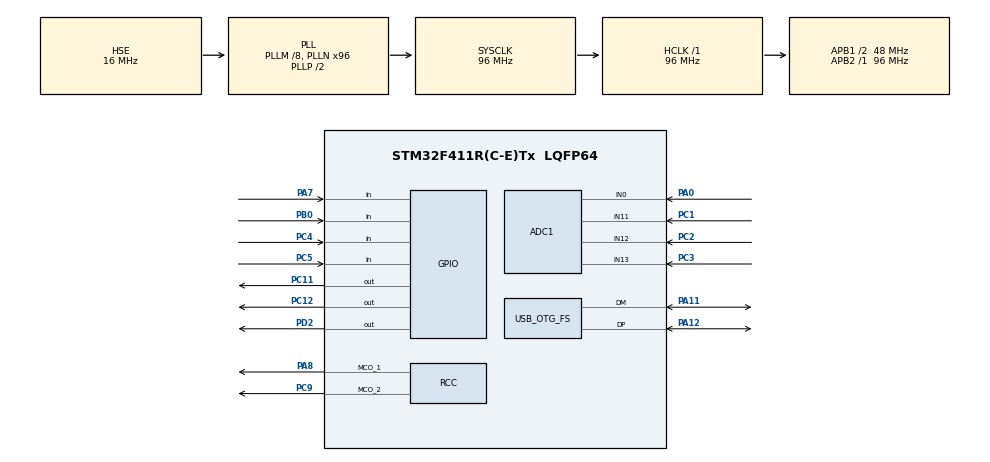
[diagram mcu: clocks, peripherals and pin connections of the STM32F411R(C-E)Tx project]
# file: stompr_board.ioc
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ADC1.Channel-0\#ChannelRegularConversion=ADC_CHANNEL_11
ADC1.Channel-1\#ChannelRegularConversion=ADC_CHANNEL_12
ADC1.Channel-2\#ChannelRegularConversion=ADC_CHANNEL_13
ADC1.Channel-3\#ChannelRegularConversion=ADC_CHANNEL_0
ADC1.ContinuousConvMode=DISABLE
ADC1.DMAContinuousRequests=DISABLE
ADC1.EOCSelection=ADC_EOC_SINGLE_CONV
ADC1.ExternalTrigConv=ADC_SOFTWARE_START
ADC1.NbrOfConversion=4
ADC1.NbrOfConversionFlag=1
ADC1.Rank-0\#ChannelRegularConversion=1
ADC1.Rank-1\#ChannelRegularConversion=2
ADC1.Rank-2\#ChannelRegularConversion=3
ADC1.Rank-3\#ChannelRegularConversion=4
ADC1.SamplingTime-0\#ChannelRegularConversion=ADC_SAMPLETIME_84CYCLES
ADC1.SamplingTime-1\#ChannelRegularConversion=ADC_SAMPLETIME_84CYCLES
ADC1.SamplingTime-2\#ChannelRegularConversion=ADC_SAMPLETIME_84CYCLES
ADC1.SamplingTime-3\#ChannelRegularConversion=ADC_SAMPLETIME_84CYCLES
ADC1.master=1
Mcu.Family=STM32F4
Mcu.Name=STM32F411R(C-E)Tx
Mcu.Package=LQFP64
NVIC.ADC_IRQn=true\:0\:0\:false\:false\:true\:true\:true\:true
NVIC.OTG_FS_IRQn=true\:0\:0\:false\:false\:true\:true\:true\:true
NVIC.PriorityGroup=NVIC_PRIORITYGROUP_4
PA0-WKUP.Signal=ADCx_IN0
PA11.Mode=Device_Only
PA11.Signal=USB_OTG_FS_DM
PA12.Mode=Device_Only
PA12.Signal=USB_OTG_FS_DP
PA13.Mode=Serial_Wire
PA13.Signal=SYS_JTMS-SWDIO
PA14.Mode=Serial_Wire
PA14.Signal=SYS_JTCK-SWCLK
PA7.Signal=GPIO_Input
PA8.Mode=Clock-out-1
PA8.Signal=RCC_MCO_1
PB0.Signal=GPIO_Input
PC1.Signal=ADCx_IN11
PC11.Signal=GPIO_Output
PC12.Signal=GPIO_Output
PC2.Signal=ADCx_IN12
PC3.Signal=ADCx_IN13
PC4.Signal=GPIO_Input
PC5.Signal=GPIO_Input
PC9.Mode=Clock-out-2
PC9.Signal=RCC_MCO_2
PD2.Signal=GPIO_Output
PH0\ -\ OSC_IN.Mode=HSE-External-Oscillator
PH0\ -\ OSC_IN.Signal=RCC_OSC_IN
PH1\ -\ OSC_OUT.Mode=HSE-External-Oscillator
PH1\ -\ OSC_OUT.Signal=RCC_OSC_OUT
ProjectManager.HeapSize=0x200
ProjectManager.StackSize=0x400
ProjectManager.TargetToolchain=STM32CubeIDE
RCC.48MHZClocksFreq_Value=48000000
RCC.AHBFreq_Value=96000000
RCC.APB1CLKDivider=RCC_HCLK_DIV2
RCC.APB1Freq_Value=48000000
RCC.APB1TimFreq_Value=96000000
RCC.APB2Freq_Value=96000000
RCC.APB2TimFreq_Value=96000000
RCC.CortexFreq_Value=96000000
RCC.HCLKFreq_Value=96000000
RCC.HSE_VALUE=16000000
RCC.HSI_VALUE=16000000
RCC.LSE_VALUE=32768
RCC.PLLM=8
RCC.PLLN=96
RCC.SYSCLKFreq_VALUE=96000000
RCC.SYSCLKSource=RCC_SYSCLKSOURCE_PLLCLK
RCC.VCOOutputFreq_Value=192000000
SH.ADCx_IN0.0=ADC1_IN0,IN0
SH.ADCx_IN11.0=ADC1_IN11,IN11
SH.ADCx_IN12.0=ADC1_IN12,IN12
SH.ADCx_IN13.0=ADC1_IN13,IN13
USB_OTG_FS.VirtualMode=Device_Only
board=custom

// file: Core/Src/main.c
/* USER CODE BEGIN Header */
/**
  ******************************************************************************
  * @file           : main.c
  * @brief          : Main program body
  ******************************************************************************
  * @attention
  *
  * Copyright (c) 2026 STMicroelectronics.
  * All rights reserved.
  *
  * This software is licensed under terms that can be found in the LICENSE file
  * in the root directory of this software component.
  * If no LICENSE file comes with this software, it is provided AS-IS.
  *
  ******************************************************************************
  */
/* USER CODE END Header */
#include "main.h"

/* USER CODE BEGIN Includes */
#include "tusb.h"
#include <stdint.h>
#include <stdbool.h>
/* USER CODE END Includes */

/* USER CODE BEGIN PTD */
typedef enum {
	MIDI_NOTE_OFF	= 0x00,
	MIDI_NOTE_ON	= 0x90,
	MIDI_CC			= 0xB0,
	MIDI_PC			= 0xC0,
	MIDI_PITCH_BEND	= 0xE0
} MidiCommand_t;

typedef struct {
	MidiCommand_t cmd;
	uint8_t data1;
	uint8_t data2;
} MidiPacket_t;
/* USER CODE END PTD */

/* USER CODE BEGIN PD */
#define NUM_ADC_CHANNELS 	4

#define MIDI_CHANNEL 		0x00

#define SW1_CC_NUM	 		0x01
#define SW2_CC_NUM			0x02

#define SW3_PC_NUM			0x00
#define SW4_PC_NUM 			0x01

#define ADC0_CC_NUM      	0x10
#define ADC1_CC_NUM      	0x11
#define ADC2_CC_NUM      	0x12
#define ADC3_CC_NUM      	0x13

#define ADC_CC_THRESHOLD 	3

/* USER CODE END PD */

ADC_HandleTypeDef hadc1;

PCD_HandleTypeDef hpcd_USB_OTG_FS;

/* USER CODE BEGIN PV */
uint16_t adc_buf[NUM_ADC_CHANNELS];
uint8_t last_adc_cc[NUM_ADC_CHANNELS] = {0xFF, 0xFF, 0xFF, 0xFF};
/* USER CODE END PV */

void SystemClock_Config(void);
static void MX_GPIO_Init(void);
static void MX_ADC1_Init(void);
static void MX_USB_OTG_FS_PCD_Init(void);
/* USER CODE BEGIN PFP */
static void MIDI_SendCC(uint8_t controller, uint8_t value);
static void MIDI_SendPC(uint8_t program);
/* USER CODE END PFP */

/* USER CODE BEGIN 0 */
static void MIDI_SendCC(uint8_t controller, uint8_t value)
{
    uint8_t packet[4] = {
        0x0B,                    // 0x0B (Control Change), Cable 0
        MIDI_CC | MIDI_CHANNEL,  // CC on channel 1
        controller,              // Controller number
        value                    // Controller value
    };
    tud_midi_packet_write(packet);
}

static void MIDI_SendPC(uint8_t program)
{
    uint8_t packet[4] = {
        0x0C,                    // 0x0C (Program Change), Cable 0
        MIDI_PC | MIDI_CHANNEL,  // 0xC0 = PC on channel 1
        program,                 // Program number
        0x00                     // Unused
    };
    tud_midi_packet_write(packet);
}

/* USER CODE END 0 */

int main(void)
{

  /* MCU Configuration--------------------------------------------------------*/

  /* Reset of all peripherals, Initializes the Flash interface and the Systick. */
  HAL_Init();

  /* Configure the system clock */
  SystemClock_Config();

  /* Initialize all configured peripherals */
  MX_GPIO_Init();
  MX_ADC1_Init();
  MX_USB_OTG_FS_PCD_Init();

  /* USER CODE BEGIN 2 */

  tusb_rhport_init_t dev_init = {
	  .role = TUSB_ROLE_DEVICE,
	  .speed = TUSB_SPEED_FULL
  };
  tusb_init(0, &dev_init);

  bool sw1_cc_state = false;
  bool sw2_cc_state = false;

  bool last_sw1 = false;
  bool last_sw2 = false;
  bool last_sw3 = false;
  bool last_sw4 = false;

  /* USER CODE END 2 */

  /* Infinite loop */
  while (1)
  {

    /* USER CODE BEGIN 3 */

	  tud_task();

	  // READ ADC
	  for (int i = 0; i < NUM_ADC_CHANNELS; i++) {
		  HAL_ADC_Start(&hadc1);
		  HAL_ADC_PollForConversion(&hadc1, HAL_MAX_DELAY);
		  adc_buf[i] = HAL_ADC_GetValue(&hadc1);
	  }

	  // Read Switches
      bool sw1 = (HAL_GPIO_ReadPin(GPIOA, GPIO_PIN_7) == GPIO_PIN_RESET);
      bool sw2 = (HAL_GPIO_ReadPin(GPIOC, GPIO_PIN_4) == GPIO_PIN_RESET);
      bool sw3 = (HAL_GPIO_ReadPin(GPIOC, GPIO_PIN_5) == GPIO_PIN_RESET);
      bool sw4 = (HAL_GPIO_ReadPin(GPIOB, GPIO_PIN_0) == GPIO_PIN_RESET);

      // Switch 1: CC Toggle when pressed
      if (sw1 && !last_sw1) {
    	  HAL_Delay(50);
    	  sw1_cc_state = !sw1_cc_state;
          MIDI_SendCC(SW1_CC_NUM, sw1_cc_state ? 127 : 0);
    	  HAL_GPIO_TogglePin(GPIOD, GPIO_PIN_2);
      }

      last_sw1 = sw1;

      // SWITCH 2: CC toggle on press
      if (sw2 && !last_sw2) {
          HAL_Delay(50); // debounce
          sw2_cc_state = !sw2_cc_state;
          MIDI_SendCC(SW2_CC_NUM, sw2_cc_state ? 127 : 0);
          HAL_GPIO_TogglePin(GPIOD, GPIO_PIN_2);
      }
      last_sw2 = sw2;

      //SWITCH 3: PC patch 0 on press
      if (sw3 && !last_sw3) {
          HAL_Delay(50); // debounce
          MIDI_SendPC(SW3_PC_NUM);
          HAL_GPIO_TogglePin(GPIOD, GPIO_PIN_2);
      }
      last_sw3 = sw3;

      // SWITCH 4: PC patch 1 on press
      if (sw4 && !last_sw4) {
          HAL_Delay(50); // debounce
          MIDI_SendPC(SW4_PC_NUM);
          HAL_GPIO_TogglePin(GPIOD, GPIO_PIN_2);
      }
      last_sw4 = sw4;

      // Maps adc channel to cc num
      static const uint8_t adc_cc_nums[NUM_ADC_CHANNELS] = {
                  ADC0_CC_NUM, ADC1_CC_NUM, ADC2_CC_NUM, ADC3_CC_NUM
              };

      for (int i = 0; i < NUM_ADC_CHANNELS; i++) {

          uint8_t cc_val = (uint8_t)(((uint32_t)adc_buf[i] * 127) / 4095);

          // Box filter: only send if change exceeds threshold.
          int delta = (int)cc_val - (int)last_adc_cc[i];
          if (delta < 0) delta = -delta;

          if (delta > ADC_CC_THRESHOLD) {
              last_adc_cc[i] = cc_val;
              MIDI_SendCC(adc_cc_nums[i], cc_val);
          }
      }

      HAL_Delay(10);
      /* ---------------- OLD WORKING CODE ----------------

	  // Build transmit buffer with ADC values
	  uint8_t txbuf[64];
	  int len = snprintf((char*)txbuf, sizeof(txbuf),
	      "P1:%4u P2:%4u P3:%4u P4:%4u\r\n",
	      adc_buf[0], adc_buf[1], adc_buf[2], adc_buf[3]);
	// SWITCH 1
	if (HAL_GPIO_ReadPin(GPIOA, GPIO_PIN_7) == GPIO_PIN_RESET) {

	  HAL_Delay(50);
	  HAL_GPIO_TogglePin (GPIOD, GPIO_PIN_2);

	    CDC_Transmit_FS(txbuf, len);

	  while (HAL_GPIO_ReadPin(GPIOA, GPIO_PIN_7) == GPIO_PIN_RESET);

	}

	// SWITCH 2
	if (HAL_GPIO_ReadPin(GPIOC, GPIO_PIN_4) == GPIO_PIN_RESET) {

	  HAL_Delay(50);
	  HAL_GPIO_TogglePin (GPIOD, GPIO_PIN_2);

	    CDC_Transmit_FS(txbuf, len);

	  while (HAL_GPIO_ReadPin(GPIOC, GPIO_PIN_4) == GPIO_PIN_RESET);

	}

	// SWITCH 3
	if (HAL_GPIO_ReadPin(GPIOC, GPIO_PIN_5) == GPIO_PIN_RESET) {

	  HAL_Delay(50);
	  HAL_GPIO_TogglePin (GPIOD, GPIO_PIN_2);

	    CDC_Transmit_FS(txbuf, len);

	  while (HAL_GPIO_ReadPin(GPIOC, GPIO_PIN_5) == GPIO_PIN_RESET);

	}

	// SWITCH 4
	if (HAL_GPIO_ReadPin(GPIOB, GPIO_PIN_0) == GPIO_PIN_RESET) {

	  HAL_Delay(50);
	  HAL_GPIO_TogglePin (GPIOD, GPIO_PIN_2);

	    CDC_Transmit_FS(txbuf, len);

	  while (HAL_GPIO_ReadPin(GPIOB, GPIO_PIN_0) == GPIO_PIN_RESET);

	}

	HAL_Delay(100);
	*/

  }

  /* USER CODE END 3 */
}

void SystemClock_Config(void)
{
  RCC_OscInitTypeDef RCC_OscInitStruct = {0};
  RCC_ClkInitTypeDef RCC_ClkInitStruct = {0};

  /** Configure the main internal regulator output voltage
  */
  __HAL_RCC_PWR_CLK_ENABLE();
  __HAL_PWR_VOLTAGESCALING_CONFIG(PWR_REGULATOR_VOLTAGE_SCALE1);

  /** Initializes the RCC Oscillators according to the specified parameters
  * in the RCC_OscInitTypeDef structure.
  */
  RCC_OscInitStruct.OscillatorType = RCC_OSCILLATORTYPE_HSI|RCC_OSCILLATORTYPE_HSE;
  RCC_OscInitStruct.HSEState = RCC_HSE_ON;
  RCC_OscInitStruct.HSIState = RCC_HSI_ON;
  RCC_OscInitStruct.HSICalibrationValue = RCC_HSICALIBRATION_DEFAULT;
  RCC_OscInitStruct.PLL.PLLState = RCC_PLL_ON;
  RCC_OscInitStruct.PLL.PLLSource = RCC_PLLSOURCE_HSE;
  RCC_OscInitStruct.PLL.PLLM = 8;
  RCC_OscInitStruct.PLL.PLLN = 96;
  RCC_OscInitStruct.PLL.PLLP = RCC_PLLP_DIV2;
  RCC_OscInitStruct.PLL.PLLQ = 4;
  if (HAL_RCC_OscConfig(&RCC_OscInitStruct) != HAL_OK)
  {
    Error_Handler();
  }

  /** Initializes the CPU, AHB and APB buses clocks
  */
  RCC_ClkInitStruct.ClockType = RCC_CLOCKTYPE_HCLK|RCC_CLOCKTYPE_SYSCLK
                              |RCC_CLOCKTYPE_PCLK1|RCC_CLOCKTYPE_PCLK2;
  RCC_ClkInitStruct.SYSCLKSource = RCC_SYSCLKSOURCE_PLLCLK;
  RCC_ClkInitStruct.AHBCLKDivider = RCC_SYSCLK_DIV1;
  RCC_ClkInitStruct.APB1CLKDivider = RCC_HCLK_DIV2;
  RCC_ClkInitStruct.APB2CLKDivider = RCC_HCLK_DIV1;

  if (HAL_RCC_ClockConfig(&RCC_ClkInitStruct, FLASH_LATENCY_3) != HAL_OK)
  {
    Error_Handler();
  }
  HAL_RCC_MCOConfig(RCC_MCO1, RCC_MCO1SOURCE_HSI, RCC_MCODIV_1);
  HAL_RCC_MCOConfig(RCC_MCO2, RCC_MCO2SOURCE_SYSCLK, RCC_MCODIV_1);
}

static void MX_ADC1_Init(void)
{

  ADC_ChannelConfTypeDef sConfig = {0};

  /** Configure the global features of the ADC (Clock, Resolution, Data Alignment and number of conversion)
  */
  hadc1.Instance = ADC1;
  hadc1.Init.ClockPrescaler = ADC_CLOCK_SYNC_PCLK_DIV4;
  hadc1.Init.Resolution = ADC_RESOLUTION_12B;
  hadc1.Init.ScanConvMode = ENABLE;
  hadc1.Init.ContinuousConvMode = DISABLE;
  hadc1.Init.DiscontinuousConvMode = DISABLE;
  hadc1.Init.ExternalTrigConvEdge = ADC_EXTERNALTRIGCONVEDGE_NONE;
  hadc1.Init.ExternalTrigConv = ADC_SOFTWARE_START;
  hadc1.Init.DataAlign = ADC_DATAALIGN_RIGHT;
  hadc1.Init.NbrOfConversion = 4;
  hadc1.Init.DMAContinuousRequests = DISABLE;
  hadc1.Init.EOCSelection = ADC_EOC_SINGLE_CONV;
  if (HAL_ADC_Init(&hadc1) != HAL_OK)
  {
    Error_Handler();
  }

  /** Configure for the selected ADC regular channel its corresponding rank in the sequencer and its sample time.
  */
  sConfig.Channel = ADC_CHANNEL_11;
  sConfig.Rank = 1;
  sConfig.SamplingTime = ADC_SAMPLETIME_84CYCLES;
  if (HAL_ADC_ConfigChannel(&hadc1, &sConfig) != HAL_OK)
  {
    Error_Handler();
  }

  /** Configure for the selected ADC regular channel its corresponding rank in the sequencer and its sample time.
  */
  sConfig.Channel = ADC_CHANNEL_12;
  sConfig.Rank = 2;
  if (HAL_ADC_ConfigChannel(&hadc1, &sConfig) != HAL_OK)
  {
    Error_Handler();
  }

  /** Configure for the selected ADC regular channel its corresponding rank in the sequencer and its sample time.
  */
  sConfig.Channel = ADC_CHANNEL_13;
  sConfig.Rank = 3;
  if (HAL_ADC_ConfigChannel(&hadc1, &sConfig) != HAL_OK)
  {
    Error_Handler();
  }

  /** Configure for the selected ADC regular channel its corresponding rank in the sequencer and its sample time.
  */
  sConfig.Channel = ADC_CHANNEL_0;
  sConfig.Rank = 4;
  if (HAL_ADC_ConfigChannel(&hadc1, &sConfig) != HAL_OK)
  {
    Error_Handler();
  }

}

static void MX_USB_OTG_FS_PCD_Init(void)
{

  hpcd_USB_OTG_FS.Instance = USB_OTG_FS;
  hpcd_USB_OTG_FS.Init.dev_endpoints = 4;
  hpcd_USB_OTG_FS.Init.speed = PCD_SPEED_FULL;
  hpcd_USB_OTG_FS.Init.dma_enable = DISABLE;
  hpcd_USB_OTG_FS.Init.phy_itface = PCD_PHY_EMBEDDED;
  hpcd_USB_OTG_FS.Init.Sof_enable = DISABLE;
  hpcd_USB_OTG_FS.Init.low_power_enable = DISABLE;
  hpcd_USB_OTG_FS.Init.lpm_enable = DISABLE;
  hpcd_USB_OTG_FS.Init.vbus_sensing_enable = DISABLE;
  hpcd_USB_OTG_FS.Init.use_dedicated_ep1 = DISABLE;
  if (HAL_PCD_Init(&hpcd_USB_OTG_FS) != HAL_OK)
  {
    Error_Handler();
  }

}

static void MX_GPIO_Init(void)
{
  GPIO_InitTypeDef GPIO_InitStruct = {0};

  /* GPIO Ports Clock Enable */
  __HAL_RCC_GPIOH_CLK_ENABLE();
  __HAL_RCC_GPIOC_CLK_ENABLE();
  __HAL_RCC_GPIOA_CLK_ENABLE();
  __HAL_RCC_GPIOB_CLK_ENABLE();
  __HAL_RCC_GPIOD_CLK_ENABLE();

  /*Configure GPIO pin Output Level */
  HAL_GPIO_WritePin(GPIOC, GPIO_PIN_11|GPIO_PIN_12, GPIO_PIN_RESET);

  /*Configure GPIO pin Output Level */
  HAL_GPIO_WritePin(GPIOD, GPIO_PIN_2, GPIO_PIN_RESET);

  /*Configure GPIO pin : PA7 */
  GPIO_InitStruct.Pin = GPIO_PIN_7;
  GPIO_InitStruct.Mode = GPIO_MODE_INPUT;
  GPIO_InitStruct.Pull = GPIO_NOPULL;
  HAL_GPIO_Init(GPIOA, &GPIO_InitStruct);

  /*Configure GPIO pins : PC4 PC5 */
  GPIO_InitStruct.Pin = GPIO_PIN_4|GPIO_PIN_5;
  GPIO_InitStruct.Mode = GPIO_MODE_INPUT;
  GPIO_InitStruct.Pull = GPIO_NOPULL;
  HAL_GPIO_Init(GPIOC, &GPIO_InitStruct);

  /*Configure GPIO pin : PB0 */
  GPIO_InitStruct.Pin = GPIO_PIN_0;
  GPIO_InitStruct.Mode = GPIO_MODE_INPUT;
  GPIO_InitStruct.Pull = GPIO_NOPULL;
  HAL_GPIO_Init(GPIOB, &GPIO_InitStruct);

  /*Configure GPIO pin : PC9 */
  GPIO_InitStruct.Pin = GPIO_PIN_9;
  GPIO_InitStruct.Mode = GPIO_MODE_AF_PP;
  GPIO_InitStruct.Pull = GPIO_NOPULL;
  GPIO_InitStruct.Speed = GPIO_SPEED_FREQ_LOW;
  GPIO_InitStruct.Alternate = GPIO_AF0_MCO;
  HAL_GPIO_Init(GPIOC, &GPIO_InitStruct);

  /*Configure GPIO pin : PA8 */
  GPIO_InitStruct.Pin = GPIO_PIN_8;
  GPIO_InitStruct.Mode = GPIO_MODE_AF_PP;
  GPIO_InitStruct.Pull = GPIO_NOPULL;
  GPIO_InitStruct.Speed = GPIO_SPEED_FREQ_LOW;
  GPIO_InitStruct.Alternate = GPIO_AF0_MCO;
  HAL_GPIO_Init(GPIOA, &GPIO_InitStruct);

  /*Configure GPIO pins : PC11 PC12 */
  GPIO_InitStruct.Pin = GPIO_PIN_11|GPIO_PIN_12;
  GPIO_InitStruct.Mode = GPIO_MODE_OUTPUT_PP;
  GPIO_InitStruct.Pull = GPIO_NOPULL;
  GPIO_InitStruct.Speed = GPIO_SPEED_FREQ_LOW;
  HAL_GPIO_Init(GPIOC, &GPIO_InitStruct);

  /*Configure GPIO pin : PD2 */
  GPIO_InitStruct.Pin = GPIO_PIN_2;
  GPIO_InitStruct.Mode = GPIO_MODE_OUTPUT_PP;
  GPIO_InitStruct.Pull = GPIO_NOPULL;
  GPIO_InitStruct.Speed = GPIO_SPEED_FREQ_LOW;
  HAL_GPIO_Init(GPIOD, &GPIO_InitStruct);

}

void Error_Handler(void)
{
  __disable_irq();
  while (1)
  {
  }
}
